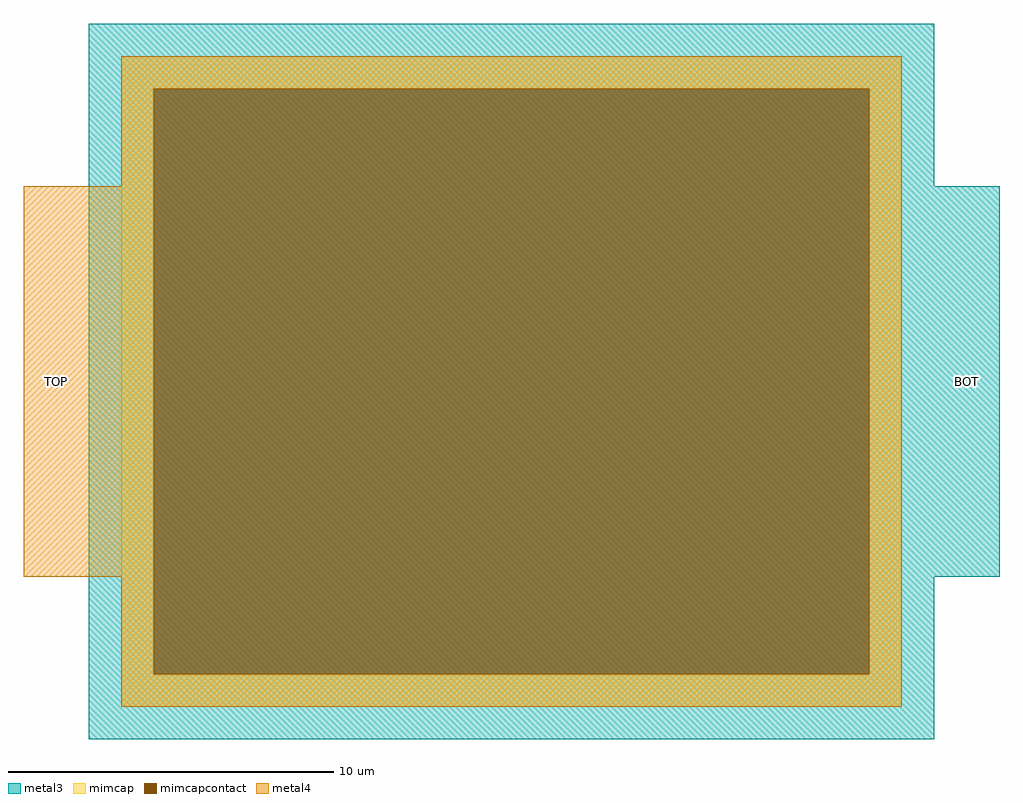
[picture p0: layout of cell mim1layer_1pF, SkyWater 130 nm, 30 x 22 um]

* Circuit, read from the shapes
.subckt mim1layer_1pF BOT TOP
XC1 TOP BOT sky130_fd_pr__cap_mim_m3_1 w=24 l=20
.ends

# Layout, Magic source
magic
tech sky130B
<< metal3 >>
rect -300 1800 2300 2300
rect -300 600 2500 1800
rect -300 100 2300 600
<< mimcap >>
rect -200 2100 2200 2200
rect -200 300 -100 2100
rect 2100 300 2200 2100
rect -200 200 2200 300
<< mimcapcontact >>
rect -100 300 2100 2100
<< metal4 >>
rect -200 2100 2200 2200
rect -200 1800 -100 2100
rect -500 600 -100 1800
rect -200 300 -100 600
rect 2100 300 2200 2100
rect -200 200 2200 300
<< labels >>
rlabel metal4 -500 600 -300 1800 1 TOP
rlabel metal3 2300 600 2500 1800 1 BOT
<< end >>
